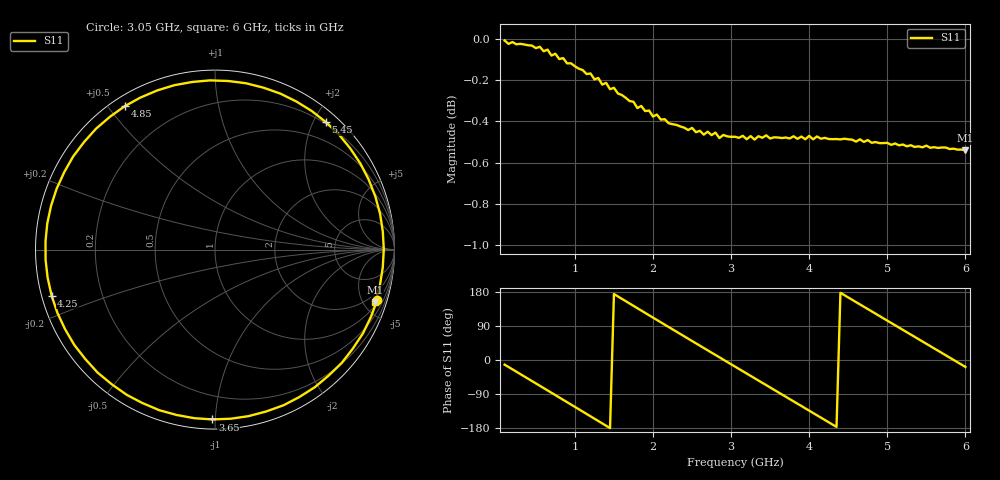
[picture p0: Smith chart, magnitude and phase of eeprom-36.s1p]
! Created with skrf 2.0.0 (http://scikit-rf.org).
# Hz S RI R 50.0
!freq ReS11 ImS11
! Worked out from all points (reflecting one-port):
!   119 points, 100 MHz to 6 GHz, reference 50 ohm
!   lowest |S11| = -0.5 dB at 6 GHz (marker M1), VSWR 32.10, Z = 59.5 - j299 ohm
!   phase of S11 starts at -12 deg and turns -726 deg over the sweep
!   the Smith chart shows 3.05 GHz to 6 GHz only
!   S11 on the Smith chart (normalised r, x): 3.05 GHz: 1.16, -6.35; 3.65 GHz: 0.05, -0.98; 4.25 GHz: 0.03, -0.14; 4.85 GHz: 0.04, +0.55; 5.45 GHz: 0.18, +2.19; 6 GHz: 1.19, -5.98
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1e8  0.9762 -0.2132
3e8  0.7965 -0.6002
5e8  0.4713 -0.8763
6.5e8  0.168 -0.9798
8.5e8  -0.2574 -0.9553
1.05e9  -0.6317 -0.7539
1.25e9  -0.8849 -0.4158
1.4e9  -0.9696 -0.1101
1.6e9  -0.9194 0.3067
1.8e9  -0.6999 0.6602
2e9  -0.3568 0.8886
2.15e9  -0.0552 0.9546
2.35e9  0.3472 0.8867
2.7e9  0.8565 0.4098
2.9e9  0.9476 0.0166
3.05e9  0.9038 -0.2822
3.35e9  0.5555 -0.7671
3.65e9  -0.0145 -0.946
3.8e9  -0.3109 -0.8946
4.05e9  -0.7226 -0.6097
4.25e9  -0.9103 -0.2558
4.55e9  -0.882 0.34
4.85e9  -0.5029 0.7989
5.1e9  -0.0281 0.9428
5.3e9  0.3642 0.8691
5.45e9  0.6185 0.7095
5.75e9  0.9196 0.1999
6e9  0.8922 -0.2947
